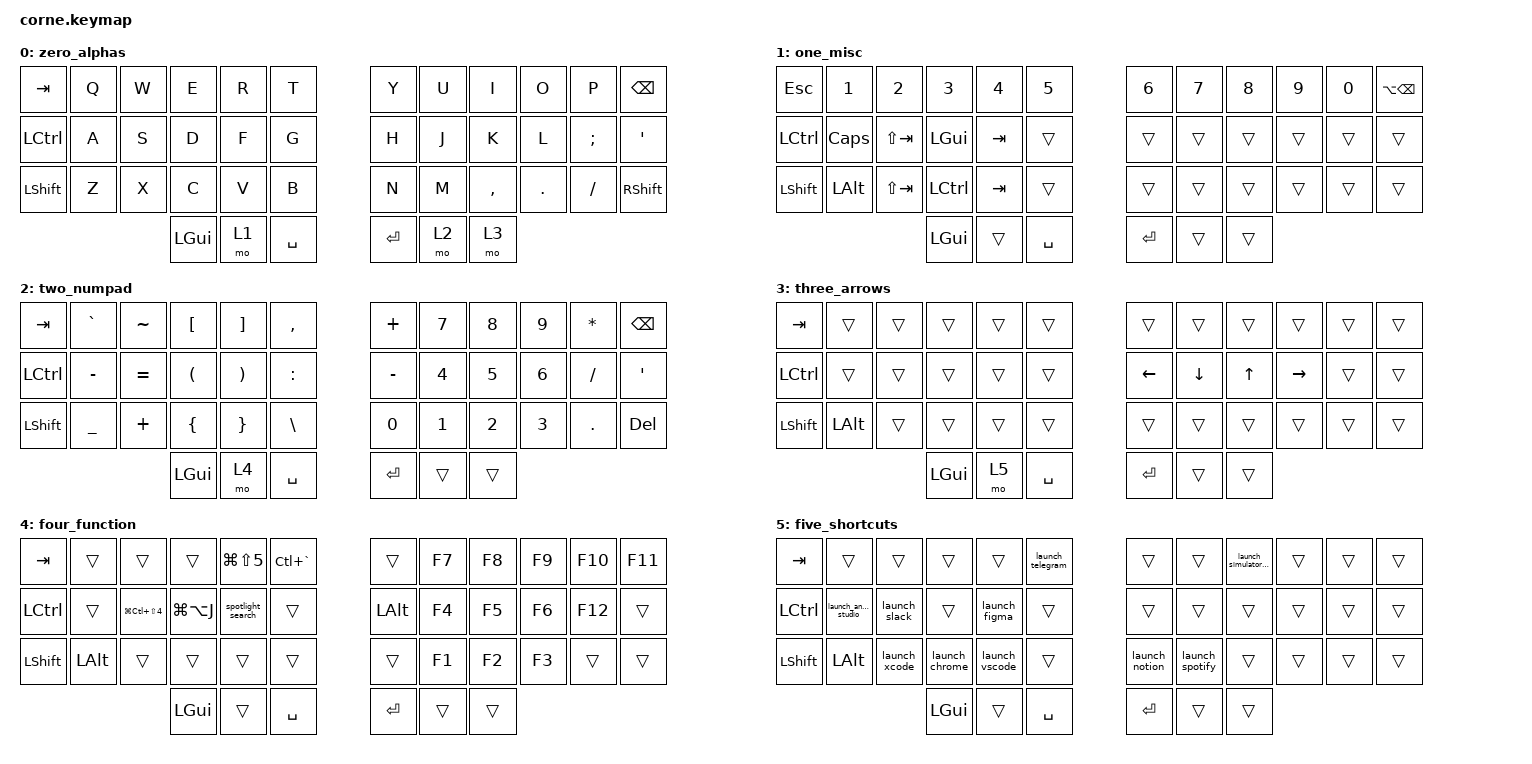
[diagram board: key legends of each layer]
/*
 * Copyright (c) 2020 The ZMK Contributors
 *
 * SPDX-License-Identifier: MIT
 */

#include <behaviors.dtsi>
#include <dt-bindings/zmk/keys.h>

/ {
    macros {
        launch_slack: launch_slack {
            compatible = "zmk,behavior-macro";
            #binding-cells = <0>;
            bindings = <&spotlight_search &kp LS(S) &kp L &kp A &kp C &kp K &kp ENTER>;
            label = "LAUNCH_SLACK";
            wait-ms = <2>;
        };

        launch_chrome: launch_chrome {
            compatible = "zmk,behavior-macro";
            #binding-cells = <0>;
            bindings = <&spotlight_search &kp LS(G) &kp O &kp O &kp G &kp L &kp E &kp ENTER>;
            label = "LAUNCH_CHROME";
            wait-ms = <2>;
        };

        spotlight_search: spotlight_search {
            compatible = "zmk,behavior-macro";
            #binding-cells = <0>;
            bindings = <&kp LG(SPACE)>;
            label = "SPOTLIGHT_SEARCH";
            wait-ms = <1>;
        };

        launch_notion: launch_notion {
            compatible = "zmk,behavior-macro";
            #binding-cells = <0>;
            bindings = <&spotlight_search &kp LS(N) &kp O &kp T &kp I &kp O &kp N &kp ENTER>;
            label = "LAUNCH_NOTION";
            wait-ms = <2>;
        };

        launch_vscode: launch_vscode {
            compatible = "zmk,behavior-macro";
            #binding-cells = <0>;
            bindings = <&spotlight_search &kp LS(V) &kp I &kp S &kp U &kp A &kp L &kp RET>;
            label = "LAUNCH_VSCODE";
            wait-ms = <2>;
        };

        launch_android_studio: launch_android_studio {
            compatible = "zmk,behavior-macro";
            #binding-cells = <0>;
            bindings = <&spotlight_search &kp LS(A) &kp N &kp D &kp R &kp O &kp I &kp D &kp RET>;
            label = "LAUNCH_ANDROID_STUDIO";
            wait-ms = <2>;
        };

        launch_xcode: launch_xcode {
            compatible = "zmk,behavior-macro";
            #binding-cells = <0>;
            bindings = <&spotlight_search &kp LS(X) &kp C &kp O &kp D &kp E &kp RET>;
            label = "LAUNCH_XCODE";
            wait-ms = <2>;
        };

        launch_simulator_ios: launch_simulator_ios {
            compatible = "zmk,behavior-macro";
            #binding-cells = <0>;
            bindings = <&spotlight_search &kp LS(S) &kp I &kp M &kp U &kp L &kp A &kp T &kp O &kp R &kp RET>;
            label = "LAUNCH_SIMULATOR_IOS";
            wait-ms = <2>;
        };

        launch_telegram: launch_telegram {
            compatible = "zmk,behavior-macro";
            #binding-cells = <0>;
            bindings = <&spotlight_search &kp LS(T) &kp E &kp L &kp E &kp RET>;
            label = "LAUNCH_TELEGRAM";
            wait-ms = <2>;
        };

        launch_spotify: launch_spotify {
            compatible = "zmk,behavior-macro";
            #binding-cells = <0>;
            bindings = <&spotlight_search &kp LS(S) &kp P &kp O &kp T &kp I &kp F &kp Y &kp RET>;
            label = "LAUNCH_SPOTIFY";
            wait-ms = <2>;
        };

        launch_figma: launch_figma {
            compatible = "zmk,behavior-macro";
            #binding-cells = <0>;
            bindings = <&spotlight_search &kp LS(F) &kp I &kp G &kp M &kp A &kp RET>;
            label = "LAUNCH_FIGMA";
        };
    };

    keymap {
        compatible = "zmk,keymap";

        zero_alphas {
            // -----------------------------------------------------------------------------------------
            // |  TAB |  Q  |  W  |  E  |  R  |  T  |   |  Y  |  U   |  I  |  O  |  P  | BKSP |
            // | CTRL |  A  |  S  |  D  |  F  |  G  |   |  H  |  J   |  K  |  L  |  ;  |  '   |
            // | SHFT |  Z  |  X  |  C  |  V  |  B  |   |  N  |  M   |  ,  |  .  |  /  | ESC  |
            //                    | GUI | LWR | SPC |   | ENT | RSE  | ALT |

            bindings = <
&kp TAB    &kp Q  &kp W  &kp E     &kp R  &kp T        &kp Y    &kp U  &kp I      &kp O    &kp P     &kp BSPC
&kp LCTRL  &kp A  &kp S  &kp D     &kp F  &kp G        &kp H    &kp J  &kp K      &kp L    &kp SEMI  &kp SQT
&kp LSHFT  &kp Z  &kp X  &kp C     &kp V  &kp B        &kp N    &kp M  &kp COMMA  &kp DOT  &kp FSLH  &kp RIGHT_SHIFT
                         &kp LGUI  &mo 1  &kp SPACE    &kp RET  &mo 2  &mo 3
            >;
        };

        one_misc {
            // -----------------------------------------------------------------------------------------
            // |  TAB |  1  |  2  |  3  |  4  |  5  |   |  6  |  7  |  8  |  9  |  0  | BKSP |
            // | BTCLR| BT1 | BT2 | BT3 | BT4 | BT5 |   | LFT | DWN |  UP | RGT |     |      |
            // | SHFT |     |     |     |     |     |   |     |     |     |     |     |      |
            //                    | GUI |     | SPC |   | ENT |     | ALT |

            bindings = <
&kp ESC           &kp N1        &kp N2       &kp N3        &kp N4   &kp N5       &kp N6   &kp N7  &kp N8  &kp N9  &kp N0  &kp LA(BACKSPACE)
&kp LEFT_CONTROL  &kp CAPSLOCK  &kp LS(TAB)  &kp LEFT_GUI  &kp TAB  &trans       &trans   &trans  &trans  &trans  &trans  &trans
&kp LSHFT         &kp LEFT_ALT  &kp LS(TAB)  &kp LCTRL     &kp TAB  &trans       &trans   &trans  &trans  &trans  &trans  &trans
                                             &kp LGUI      &trans   &kp SPACE    &kp RET  &trans  &trans
            >;
        };

        two_numpad {
            // -----------------------------------------------------------------------------------------
            // |  TAB |  !  |  @  |  #  |  $  |  %  |   |  ^  |  &  |  *  |  (  |  )  | BKSP |
            // | CTRL |     |     |     |     |     |   |  -  |  =  |  [  |  ]  |  \  |  `   |
            // | SHFT |     |     |     |     |     |   |  _  |  +  |  {  |  }  | "|" |  ~   |
            //                    | GUI |     | SPC |   | ENT |     | ALT |

            bindings = <
&kp TAB    &kp GRAVE  &kp TILDE  &kp LEFT_BRACKET      &kp RIGHT_BRACKET      &kp COMMA        &kp PLUS      &kp NUMBER_7  &kp NUMBER_8  &kp NUMBER_9  &kp ASTERISK  &kp BSPC
&kp LCTRL  &kp MINUS  &kp EQUAL  &kp LEFT_PARENTHESIS  &kp RIGHT_PARENTHESIS  &kp COLON        &kp MINUS     &kp NUMBER_4  &kp N5        &kp NUMBER_6  &kp SLASH     &kp APOSTROPHE
&kp LSHFT  &kp UNDER  &kp PLUS   &kp LEFT_BRACE        &kp RIGHT_BRACE        &kp BACKSLASH    &kp NUMBER_0  &kp NUMBER_1  &kp NUMBER_2  &kp NUMBER_3  &kp DOT       &kp DELETE
                                 &kp LGUI              &mo 4                  &kp SPACE        &kp RET       &trans        &trans
            >;
        };

        three_arrows {
            bindings = <
&kp TAB         &trans        &trans  &trans        &trans  &trans       &trans     &trans    &trans        &trans     &trans  &trans
&kp LCTRL       &trans        &trans  &trans        &trans  &trans       &kp LEFT   &kp DOWN  &kp UP_ARROW  &kp RIGHT  &trans  &trans
&kp LEFT_SHIFT  &kp LEFT_ALT  &trans  &trans        &trans  &trans       &trans     &trans    &trans        &trans     &trans  &trans
                                      &kp LEFT_GUI  &mo 5   &kp SPACE    &kp ENTER  &trans    &trans
            >;
        };

        four_function {
            bindings = <
&kp TAB           &trans        &trans                    &trans         &kp LG(LS(NUMBER_5))  &kp LC(GRAVE)    &trans        &kp F7  &kp F8  &kp F9  &kp F10  &kp F11
&kp LEFT_CONTROL  &trans        &kp LG(LC(LS(NUMBER_4)))  &kp LG(LA(J))  &spotlight_search     &trans           &kp LEFT_ALT  &kp F4  &kp F5  &kp F6  &kp F12  &trans
&kp LEFT_SHIFT    &kp LEFT_ALT  &trans                    &trans         &trans                &trans           &trans        &kp F1  &kp F2  &kp F3  &trans   &trans
                                                          &kp LEFT_GUI   &trans                &kp SPACE        &kp ENTER     &trans  &trans
            >;
        };

        five_shortcuts {
            bindings = <
&kp TAB           &trans                  &trans         &trans          &trans          &launch_telegram    &trans          &trans           &launch_simulator_ios  &trans  &trans  &trans
&kp LEFT_CONTROL  &launch_android_studio  &launch_slack  &trans          &launch_figma   &trans              &trans          &trans           &trans                 &trans  &trans  &trans
&kp LEFT_SHIFT    &kp LEFT_ALT            &launch_xcode  &launch_chrome  &launch_vscode  &trans              &launch_notion  &launch_spotify  &trans                 &trans  &trans  &trans
                                                         &kp LEFT_GUI    &trans          &kp SPACE           &kp ENTER       &trans           &trans
            >;
        };
    };
};
